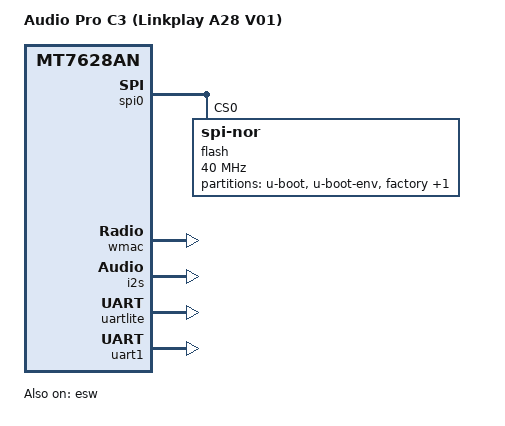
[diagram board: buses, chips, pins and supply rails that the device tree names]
// SPDX-License-Identifier: GPL-2.0-or-later
/dts-v1/;

#include "mt7628an.dtsi"

/ {
    compatible = "audiopro,c3", "linkplay,a28", "mediatek,mt7628an-soc";
    model = "Audio Pro C3 (Linkplay A28 V01)";

    aliases {
        serial0 = &uart1;     /* Linkplay Secondary MCU bus (/dev/ttyS0) */
        serial1 = &uartlite;  /* Debug Console (/dev/ttyS1) */
    };

    /*
     * Top-panel buttons (VOL+/-, Play/Pause, Source, Presets 1-4, BT)
     * are NOT wired to MT7688 GPIO pins. They are handled entirely by the
     * STM8 secondary MCU, which sends MCU+KEY+* events over ttyS0.
     * mcud reads and dispatches them — no gpio-keys node needed here.
     */

    chosen {
        bootargs = "console=ttyS1,57600 quiet loglevel=3";
    };

    pcm5102a: pcm5102a {
        #sound-dai-cells = <0>;
        compatible = "ti,pcm5102a";
    };

    sound {
        compatible = "simple-audio-card";
        simple-audio-card,name = "AudioPro-C3-I2S";
        simple-audio-card,format = "i2s";
        simple-audio-card,bitclock-master = <&dai_cpu>;
        simple-audio-card,frame-master = <&dai_cpu>;
        simple-audio-card,mclk-fs = <256>;

        dai_cpu: simple-audio-card,cpu {
            sound-dai = <&i2s>;
            dai-tdm-slot-num = <2>;
            dai-tdm-slot-width = <32>;
        };

        dai_codec: simple-audio-card,codec {
            sound-dai = <&pcm5102a>;
            dai-tdm-slot-num = <2>;
            dai-tdm-slot-width = <32>;
        };
    };
};

&spi0 {
    status = "okay";
    flash@0 {
        compatible = "jedec,spi-nor";
        reg = <0>;
        spi-max-frequency = <40000000>;

        partitions {
            compatible = "fixed-partitions";
            #address-cells = <1>;
            #size-cells = <1>;

            partition@0 {
                label = "u-boot";
                reg = <0x0 0x30000>;
                read-only;
            };

            partition@30000 {
                label = "u-boot-env";
                reg = <0x30000 0x10000>;
            };

            factory: partition@40000 {
                label = "factory";
                reg = <0x40000 0x10000>;
                read-only;
            };

            firmware: partition@50000 {
                label = "firmware";
                reg = <0x50000 0xfb0000>;
                compatible = "denx,uimage";
            };
        };
    };
};

&factory {
    compatible = "nvmem-cells";
    #address-cells = <1>;
    #size-cells = <1>;

    macaddr_factory_wifi_4: macaddr@4 {
        reg = <0x4 0x6>;
    };
    macaddr_factory_eth_28: macaddr@28 {
        reg = <0x28 0x6>;
    };
};

&ethernet {
    nvmem-cells = <&macaddr_factory_eth_28>;
    nvmem-cell-names = "mac-address";
};

&esw {
    status = "okay";
    mediatek,portmap = <0x2f>;
};

&wmac {
    status = "okay";
    mediatek,mtd-eeprom = <&factory 0x0>;
    nvmem-cells = <&macaddr_factory_wifi_4>;
    nvmem-cell-names = "mac-address";
};

&i2s {
    #sound-dai-cells = <0>;
    status = "okay";
    pinctrl-names = "default";
    pinctrl-0 = <&i2s_pins>, <&refclk_pins>;
};

&gdma {
    status = "okay";
};

&uartlite {
    status = "okay";
};

&uart1 {
    status = "okay";
    pinctrl-names = "default";
    pinctrl-0 = <&uart1_pins>;
};
